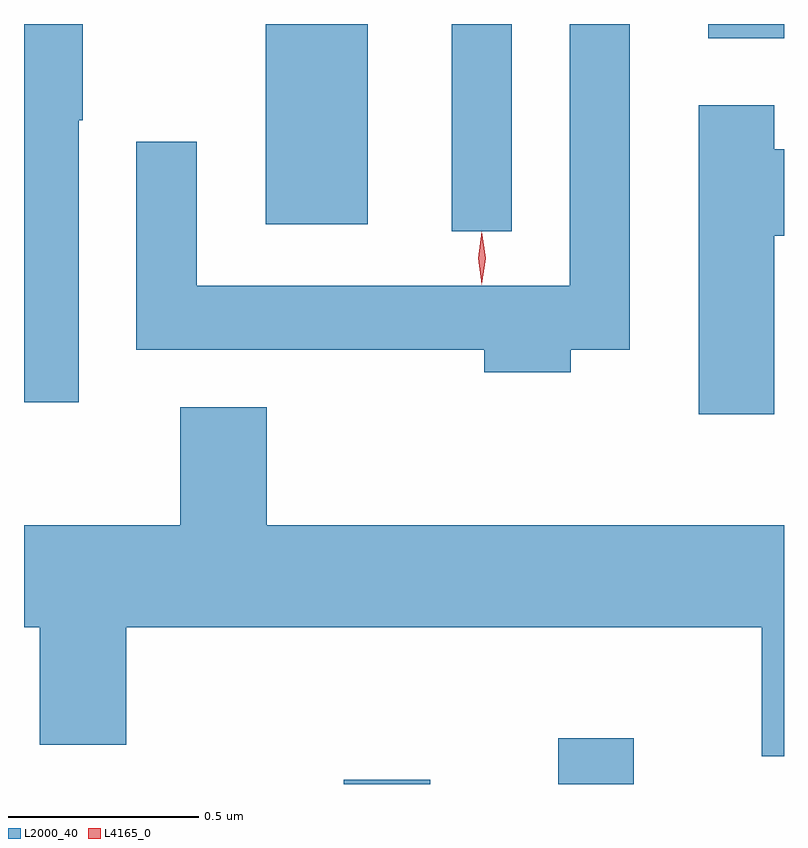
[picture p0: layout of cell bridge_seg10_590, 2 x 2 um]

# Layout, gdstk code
import gdstk
lib = gdstk.Library(unit=1e-6, precision=1e-09)
def R(c, l, rs):  # rectangles x0, y0, x1, y1
    for r in rs: c.add(gdstk.rectangle(r[:2], r[2:], *l))
def P(c, l, *ps):  # polygons
    for p in ps: c.add(gdstk.Polygon(p, *l))
L2000_40 = (2000, 40)
L4165_0 = (4165, 0)

bridge_seg10_590 = lib.new_cell('bridge_seg10_590')
R(bridge_seg10_590, L2000_40, [(788.231,2169.003,788.459,2169.014), (788.796,2169.003,788.994,2169.124), (788.516,2170.458,788.674,2171.003), (788.026,2170.476,788.294,2171.003), (789.191,2170.966,789.39,2171.003)])
P(bridge_seg10_590, L2000_40, [(788.829,2170.146),(788.984,2170.146),(788.984,2171.003),(788.826,2171.003),(788.826,2170.314),(787.844,2170.314),(787.844,2170.693),(787.686,2170.693),(787.686,2170.146),(788.601,2170.146),(788.601,2170.086),(788.829,2170.086)],
  [(787.534,2170.75),(787.544,2170.75),(787.544,2171.003),(787.39,2171.003),(787.39,2170.008),(787.534,2170.008)],
  [(789.364,2170.446),(789.39,2170.446),(789.39,2170.674),(789.364,2170.674),(789.364,2170.789),(789.166,2170.789),(789.166,2169.976),(789.364,2169.976)],
  [(789.39,2169.684),(788.029,2169.684),(788.029,2169.994),(787.801,2169.994),(787.801,2169.684),(787.39,2169.684),(787.39,2169.416),(787.431,2169.416),(787.431,2169.106),(787.659,2169.106),(787.659,2169.416),(789.331,2169.416),(789.331,2169.076),(789.39,2169.076)])
P(bridge_seg10_590, L4165_0, [(788.595,2170.317),(788.594,2170.318),(788.585,2170.386),(788.594,2170.456),(788.595,2170.456),(788.595,2170.456),(788.605,2170.386),(788.595,2170.318)],
  [(788.595,2170.319),(788.594,2170.32),(788.585,2170.386),(788.594,2170.452),(788.595,2170.453),(788.595,2170.452),(788.605,2170.386),(788.595,2170.32)])

lib.write_gds('bridge_seg10_590.gds')
